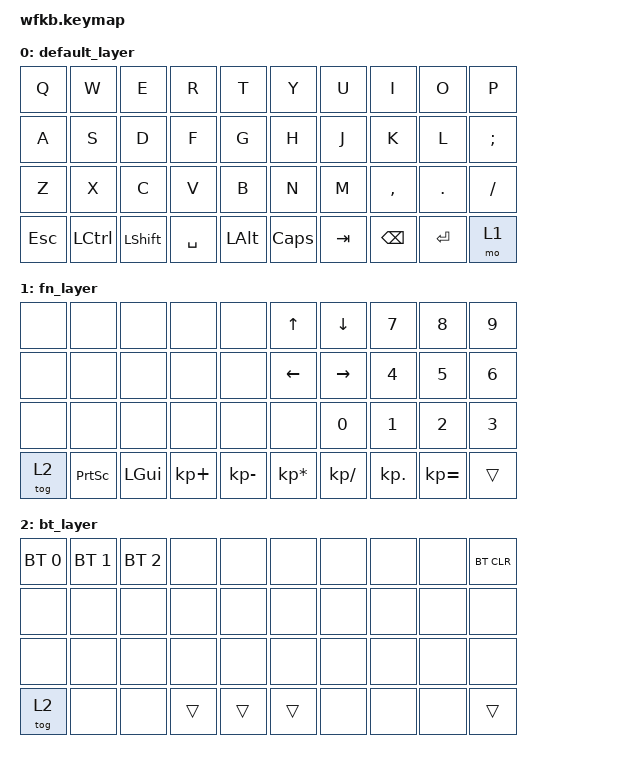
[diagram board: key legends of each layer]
#include <behaviors.dtsi>
#include <dt-bindings/zmk/keys.h>
#include <dt-bindings/zmk/bt.h>

/ {
    keymap {
        compatible = "zmk,keymap";

        default_layer { // Layer 0 - QWERTY
            bindings = <
                &kp Q      &kp W      &kp E      &kp R      &kp T      &kp Y      &kp U      &kp I      &kp O      &kp P
                &kp A      &kp S      &kp D      &kp F      &kp G      &kp H      &kp J      &kp K      &kp L      &kp SEMI
                &kp Z      &kp X      &kp C      &kp V      &kp B      &kp N      &kp M      &kp COMMA  &kp DOT    &kp FSLH
                &kp ESC    &kp LCTL   &kp LSHFT  &kp SPACE  &kp LALT   &kp CAPS   &kp TAB    &kp BSPC   &kp RET    &mo 1
            >;
        };

        fn_layer { // Layer 1 - Function / Numpad / Navigation
            bindings = <
                &none   &none     &none    &none       &none        &kp UP          &kp DOWN     &kp N7     &kp N8       &kp N9
                &none   &none     &none    &none       &none        &kp LEFT        &kp RIGHT    &kp N4     &kp N5       &kp N6
                &none   &none     &none    &none       &none        &none           &kp N0       &kp N1     &kp N2       &kp N3 
                &tog 2  &kp PSCRN &kp LGUI &kp KP_PLUS &kp KP_MINUS &kp KP_ASTERISK &kp KP_SLASH &kp KP_DOT &kp KP_EQUAL &trans
            >;
        };

        bt_layer { // Layer 2 - Bluetooth
            bindings = <
                &bt BT_SEL 0  &bt BT_SEL 1  &bt BT_SEL 2  &none  &none  &none  &none  &none  &none  &bt BT_CLR
                &none         &none         &none         &none  &none  &none  &none  &none  &none  &none
                &none         &none         &none         &none  &none  &none  &none  &none  &none  &none
                &tog 2        &none         &none         &trans &trans &trans &none  &none  &none  &trans
            >;
        };
    };
};
